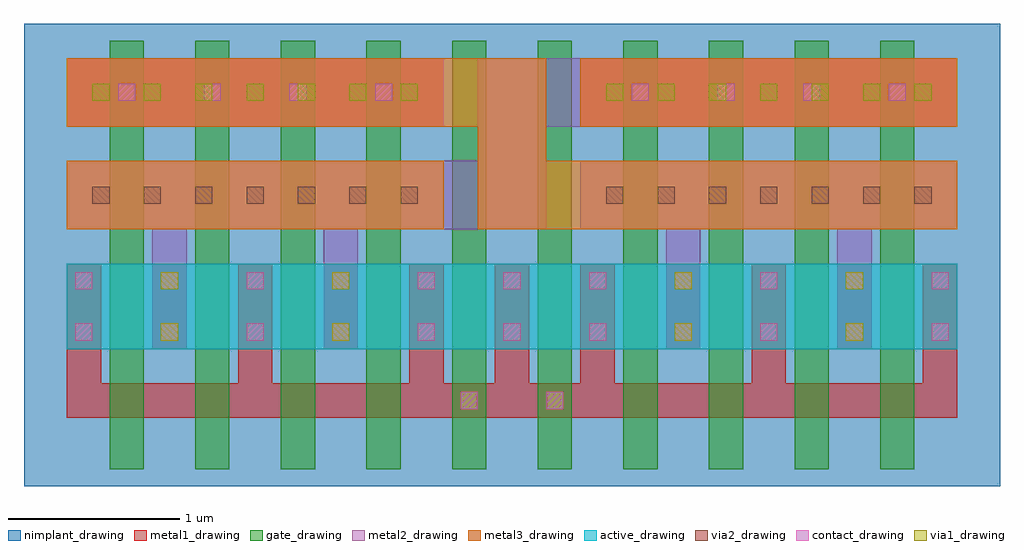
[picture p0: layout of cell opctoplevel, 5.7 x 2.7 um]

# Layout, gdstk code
import gdstk
lib = gdstk.Library(unit=1e-6, precision=1e-09)
def R(c, l, rs):  # rectangles x0, y0, x1, y1
    for r in rs: c.add(gdstk.rectangle(r[:2], r[2:], *l))
def A(c, l, x, y, w, h, nx, ny, dx, dy):  # array of equal rectangles
    R(c, l, [(x+i*dx, y+j*dy, x+i*dx+w, y+j*dy+h) for i in range(nx) for j in range(ny)])
def P(c, l, *ps):  # polygons
    for p in ps: c.add(gdstk.Polygon(p, *l))
active_drawing = (1, 0)
nimplant_drawing = (5, 0)
gate_drawing = (6, 0)
contact_drawing = (7, 0)
metal1_drawing = (8, 0)
via1_drawing = (9, 0)
metal2_drawing = (10, 0)
via2_drawing = (11, 0)
metal3_drawing = (12, 0)

opctoplevel = lib.new_cell('opctoplevel')
R(opctoplevel, active_drawing, [(-2.75,0,-0.55,0.5), (-0.75,0,-0.05,0.5), (-0.25,0,0.45,0.5), (0.25,0,2.45,0.5)])
R(opctoplevel, nimplant_drawing, [(-3,-0.8,-0.3,1.9), (-1,-0.8,0.2,1.9), (-0.5,-0.8,0.7,1.9), (0,-0.8,2.7,1.9)])
A(opctoplevel, gate_drawing, -2.5, -0.7, 0.2, 2.5, 10, 1, 0.5, 0)
A(opctoplevel, contact_drawing, -2.7, 0.05, 0.1, 0.1, 5, 2, 0.5, 0.3)
A(opctoplevel, contact_drawing, 0.3, 0.05, 0.1, 0.1, 5, 2, 0.5, 0.3)
A(opctoplevel, contact_drawing, -2.45, 1.45, 0.1, 0.1, 4, 1, 0.5, 0)
A(opctoplevel, contact_drawing, 0.55, 1.45, 0.1, 0.1, 4, 1, 0.5, 0)
R(opctoplevel, contact_drawing, [(-0.45,-0.35,-0.35,-0.25), (0.05,-0.35,0.15,-0.25), (-0.7,0.05,-0.6,0.15), (-0.2,0.05,-0.1,0.15), (-0.2,0.05,-0.1,0.15), (0.3,0.05,0.4,0.15), (-0.7,0.35,-0.6,0.45), (-0.2,0.35,-0.1,0.45), (-0.2,0.35,-0.1,0.45), (0.3,0.35,0.4,0.45)])
A(opctoplevel, metal1_drawing, -2.75, -0.2, 0.2, 0.2, 3, 1, 1, 0)
A(opctoplevel, metal1_drawing, 0.25, -0.2, 0.2, 0.2, 3, 1, 1, 0)
A(opctoplevel, metal1_drawing, -2.75, 0, 0.2, 0.5, 5, 1, 0.5, 0)
A(opctoplevel, metal1_drawing, 0.25, 0, 0.2, 0.5, 5, 1, 0.5, 0)
R(opctoplevel, metal1_drawing, [(-2.75,-0.4,-0.55,-0.2), (-0.75,-0.4,-0.05,-0.2), (-0.75,-0.4,-0.05,-0.2), (-0.5,-0.4,-0.3,-0.2), (-0.25,-0.4,0.45,-0.2), (-0.25,-0.4,0.45,-0.2), (0,-0.4,0.2,-0.2), (0.25,-0.4,2.45,-0.2), (-0.75,-0.2,-0.55,0), (-0.25,-0.2,-0.05,0), (-0.25,-0.2,-0.05,0), (0.25,-0.2,0.45,0), (-0.75,0,-0.55,0.5), (-0.25,0,-0.05,0.5), (-0.25,0,-0.05,0.5), (0.25,0,0.45,0.5), (-2.75,1.3,-0.55,1.7), (-2.75,1.3,-0.55,1.7), (0.25,1.3,2.45,1.7), (0.25,1.3,2.45,1.7)])
A(opctoplevel, via1_drawing, -2.6, 1.45, 0.1, 0.1, 7, 1, 0.3, 0)
A(opctoplevel, via1_drawing, 0.4, 1.45, 0.1, 0.1, 7, 1, 0.3, 0)
R(opctoplevel, via1_drawing, [(-2.2,0.05,-2.1,0.15), (-1.2,0.05,-1.1,0.15), (0.8,0.05,0.9,0.15), (1.8,0.05,1.9,0.15), (-2.2,0.35,-2.1,0.45), (-1.2,0.35,-1.1,0.45), (0.8,0.35,0.9,0.45), (1.8,0.35,1.9,0.45)])
R(opctoplevel, metal2_drawing, [(-2.25,0,-2.05,0.5), (-1.25,0,-1.05,0.5), (0.75,0,0.95,0.5), (1.75,0,1.95,0.5), (-2.25,0.5,-2.05,0.7), (-1.25,0.5,-1.05,0.7), (0.75,0.5,0.95,0.7), (1.75,0.5,1.95,0.7), (-2.75,0.7,-0.55,1.1), (0.25,0.7,2.45,1.1), (-2.75,1.3,-0.55,1.7), (0.25,1.3,2.45,1.7)])
P(opctoplevel, metal2_drawing, [(0.25,1.7),(-0.35,1.7),(-0.35,1.1),(-0.55,1.1),(-0.55,0.7),(0.05,0.7),(0.05,1.3),(0.25,1.3)])
A(opctoplevel, via2_drawing, -2.6, 1.45, 0.1, 0.1, 7, 1, 0.3, 0)
A(opctoplevel, via2_drawing, 0.4, 1.45, 0.1, 0.1, 7, 1, 0.3, 0)
R(opctoplevel, via2_drawing, [(-2.6,0.85,-2.5,0.95), (-2.6,0.85,-2.5,0.95), (-2.3,0.85,-2.2,0.95), (-2.3,0.85,-2.2,0.95), (-2,0.85,-1.9,0.95), (-2,0.85,-1.9,0.95), (-1.7,0.85,-1.6,0.95), (-1.7,0.85,-1.6,0.95), (-1.4,0.85,-1.3,0.95), (-1.4,0.85,-1.3,0.95), (-1.1,0.85,-1,0.95), (-1.1,0.85,-1,0.95), (-0.8,0.85,-0.7,0.95), (-0.8,0.85,-0.7,0.95), (0.4,0.85,0.5,0.95), (0.4,0.85,0.5,0.95), (0.7,0.85,0.8,0.95), (0.7,0.85,0.8,0.95), (1,0.85,1.1,0.95), (1,0.85,1.1,0.95), (1.3,0.85,1.4,0.95), (1.3,0.85,1.4,0.95), (1.6,0.85,1.7,0.95), (1.6,0.85,1.7,0.95), (1.9,0.85,2,0.95), (1.9,0.85,2,0.95), (2.2,0.85,2.3,0.95), (2.2,0.85,2.3,0.95)])
R(opctoplevel, metal3_drawing, [(-2.75,0.7,-0.55,1.1), (0.25,0.7,2.45,1.1), (-2.75,1.3,-0.55,1.7), (0.25,1.3,2.45,1.7)])
P(opctoplevel, metal3_drawing, [(-0.55,1.3),(-0.35,1.3),(-0.35,0.7),(0.25,0.7),(0.25,1.1),(0.05,1.1),(0.05,1.7),(-0.55,1.7)])

lib.write_gds('opctoplevel.gds')
